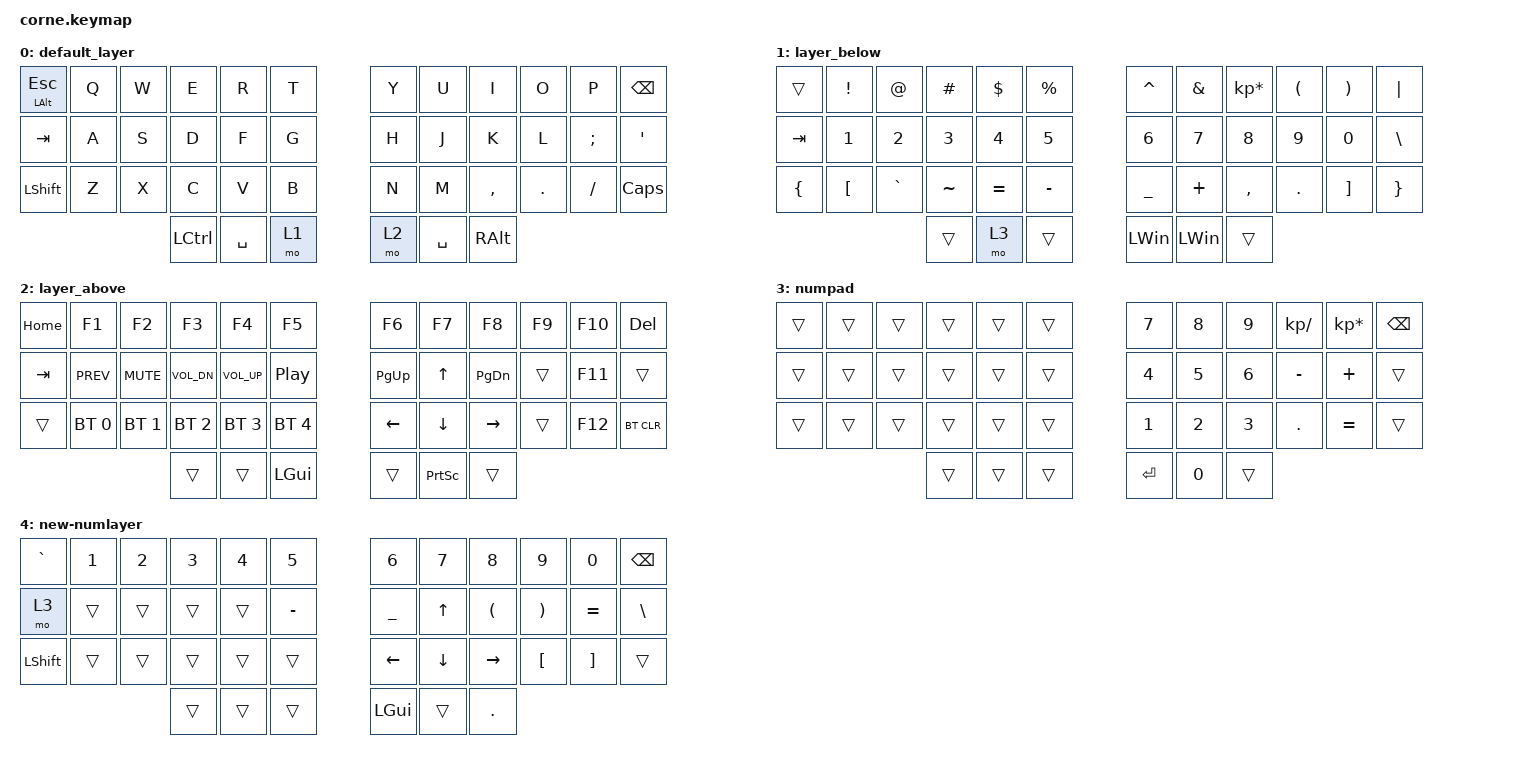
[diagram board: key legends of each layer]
/*
 * Copyright (c) 2020 The ZMK Contributors
 *
 * SPDX-License-Identifier: MIT
 */

#include <behaviors.dtsi>
#include <dt-bindings/zmk/bt.h>
#include <dt-bindings/zmk/keys.h>

/ {
    behaviors {
        tp: tap_preferred {
            compatible = "zmk,behavior-hold-tap";
            label = "TAP_PREFERRED";
            #binding-cells = <2>;
            tapping-term-ms = <150>;
            quick-tap-ms = <0>;
            flavor = "tap-preferred";
            bindings = <&kp>, <&kp>;
        };
    };

    combos {
        compatible = "zmk,combos";

        enter {
            bindings = <&kp ENTER>;
            key-positions = <19 20>;
            layers = <0>;
        };

        delete {
            bindings = <&kp DELETE>;
            key-positions = <10 11>;
            layers = <0>;
        };

        windows {
            bindings = <&kp LEFT_WIN>;
            key-positions = <36 37>;
            layers = <0>;
        };

        enterleft {
            bindings = <&kp KP_ENTER>;
            key-positions = <16 15>;
            layers = <0>;
        };

        numpad {
            bindings = <&mo 3>;
            key-positions = <12 38>;
            layers = <0>;
        };
    };

    keymap {
        compatible = "zmk,keymap";

        //------------------------------------------------------------------------------------------------------------------------------------------------------------
        //     ALT, ESC       Q            W          E          R            T                Y           U          I          O          P          BSPC
        //     TAB            A            S          D          F            G                H           J          K          L          ;          '
        //     SHFT/CAPS      Z            X          C          V            B                N           M          ,          .          /          SHFT/CAPS
        //                                            LCTRL      LGUI         LWR              RSE         SPACE      LCTRL
        //------------------------------------------------------------------------------------------------------------------------------------------------------------

        default_layer {
            bindings = <
&mt LALT ESC  &kp Q  &kp W  &kp E      &kp R      &kp T    &kp Y  &kp U      &kp I          &kp O    &kp P     &kp BSPC
&kp TAB       &kp A  &kp S  &kp D      &kp F      &kp G    &kp H  &kp J      &kp K          &kp L    &kp SEMI  &kp SQT
&kp LSHFT     &kp Z  &kp X  &kp C      &kp V      &kp B    &kp N  &kp M      &kp COMMA      &kp DOT  &kp FSLH  &kp CLCK
                            &kp LCTRL  &kp SPACE  &mo 1    &mo 2  &kp SPACE  &kp RIGHT_ALT
            >;
        };

        layer_below {
            bindings = <
&trans    &kp EXCL  &kp AT     &kp HASH   &kp DLLR   &kp PRCNT    &kp CARET     &kp AMPS      &kp KP_MULTIPLY  &kp LPAR  &kp RPAR  &kp PIPE
&kp TAB   &kp N1    &kp N2     &kp N3     &kp N4     &kp N5       &kp N6        &kp N7        &kp N8           &kp N9    &kp N0    &kp BSLH
&kp LBRC  &kp LBKT  &kp GRAVE  &kp TILDE  &kp EQUAL  &kp MINUS    &kp UNDER     &kp PLUS      &kp COMMA        &kp DOT   &kp RBKT  &kp RBRC
                               &trans     &mo 3      &trans       &kp LEFT_WIN  &kp LEFT_WIN  &trans
            >;
        };

        layer_above {
            bindings = <
&kp HOME  &kp F1        &kp F2        &kp F3        &kp F4        &kp F5              &kp F6       &kp F7           &kp F8         &kp F9  &kp F10  &kp DELETE
&kp TAB   &kp C_PREV    &kp K_MUTE    &kp C_VOL_DN  &kp C_VOL_UP  &kp C_PLAY_PAUSE    &kp PAGE_UP  &kp UP_ARROW     &kp PAGE_DOWN  &trans  &kp F11  &trans
&trans    &bt BT_SEL 0  &bt BT_SEL 1  &bt BT_SEL 2  &bt BT_SEL 3  &bt BT_SEL 4        &kp LEFT     &kp DOWN         &kp RIGHT      &trans  &kp F12  &bt BT_CLR
                                      &trans        &trans        &kp LGUI            &trans       &kp PRINTSCREEN  &trans
            >;
        };

        numpad {
            bindings = <
&trans  &trans  &trans  &trans  &trans  &trans    &kp NUMBER_7  &kp NUMBER_8  &kp NUMBER_9  &kp KP_DIVIDE  &kp KP_MULTIPLY  &kp BACKSPACE
&trans  &trans  &trans  &trans  &trans  &trans    &kp NUMBER_4  &kp N5        &kp N6        &kp MINUS      &kp PLUS         &trans
&trans  &trans  &trans  &trans  &trans  &trans    &kp NUMBER_1  &kp N2        &kp NUMBER_3  &kp PERIOD     &kp EQUAL        &trans
                        &trans  &trans  &trans    &kp ENTER     &kp NUMBER_0  &trans
            >;
        };

        new-numlayer {
            bindings = <
&kp GRAVE  &kp N1  &kp N2  &kp N3  &kp N4  &kp N5       &kp N6     &kp N7    &kp N8                &kp N9                 &kp N0     &kp BSPC
&mo 3      &trans  &trans  &trans  &trans  &kp MINUS    &kp UNDER  &kp UP    &kp LEFT_PARENTHESIS  &kp RIGHT_PARENTHESIS  &kp EQUAL  &kp BSLH
&kp LSHFT  &trans  &trans  &trans  &trans  &trans       &kp LEFT   &kp DOWN  &kp RIGHT             &kp LBKT               &kp RBKT   &trans
                           &trans  &trans  &trans       &kp LGUI   &trans    &kp PERIOD
            >;
        };

        //------------------------------------------------------------------------------------------------------------------------------------------------------------
    };
};
